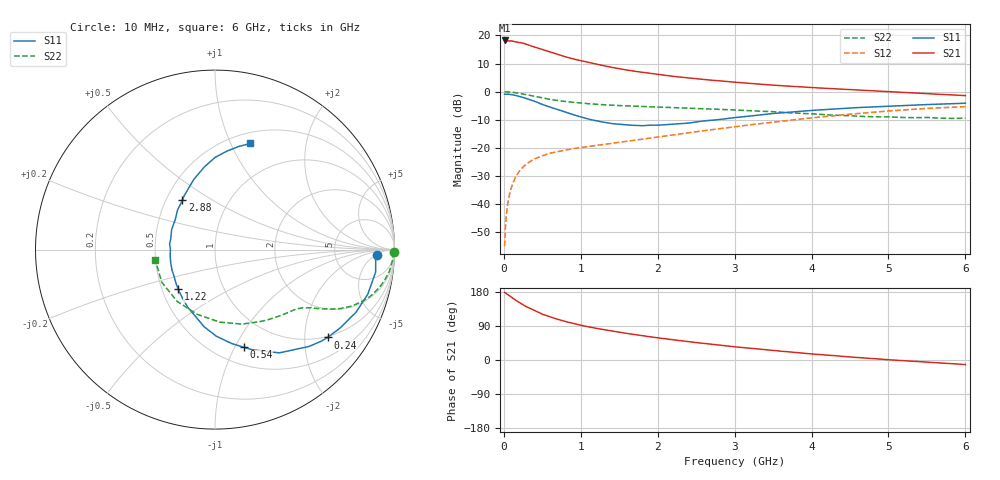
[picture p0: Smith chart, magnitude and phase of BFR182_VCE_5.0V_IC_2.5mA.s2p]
! Infineon Technologies  Discrete & RF Semiconductors
! BFR182
! VCE =  5.0 V,  IC =  2.5 mA
! Common Emitter S-Parameters:  Nov 2015
# GHz  S  MA  R  50
!  f  S11  S21  S12  S22
! GHz  MAG  ANG  MAG  ANG  MAG  ANG  MAG  ANG
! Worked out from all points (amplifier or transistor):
!   210 points, 10 MHz to 6 GHz, reference 50 ohm
!   highest |S21| = 18.2 dB at 10 MHz (marker M1)
!   |S21| within 3 dB of that: start of sweep to 472 MHz
!   unconditionally stable (mu >= 1): 1.372 GHz to 3.067 GHz
!   at 185 MHz: K = 0.21, MSG = 23.2 dB, |S12| = -28.9 dB
!   at 1.52 GHz: K = 1.03, MAG = 11.9 dB, |S12| = -17.9 dB
!   at 6 GHz: K = 0.88, MSG = 2.0 dB, |S12| = -5.3 dB
!   S11 on the Smith chart (normalised r, x): 10 MHz: 18, -5; 240 MHz: 0.97, -2.59; 540 MHz: 0.68, -1.09; 1.22 GHz: 0.61, -0.29; 2.88 GHz: 0.61, +0.37; 6 GHz: 0.62, +1.19
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0.01  0.9028 -1.8  8.121 178.6  0.0018 93.0  0.9953 -0.8
0.02  0.8968 -3.1  7.964 177.0  0.0037 82.5  0.9907 -1.4
0.03  0.8984 -4.7  7.961 175.6  0.0059 83.5  0.9905 -2.1
0.07  0.8947 -11.3  7.959 170.0  0.0142 82.5  0.9855 -5.0
0.1  0.8867 -16.3  7.979 165.9  0.0201 81.2  0.9791 -7.1
0.15  0.8595 -24.0  7.669 158.3  0.0298 76.5  0.959 -10.6
0.24  0.7964 -37.9  7.314 146.8  0.0444 69.4  0.914 -15.7
0.3  0.7511 -46.0  6.885 139.9  0.0528 66.1  0.8787 -18.7
0.4  0.6776 -58.1  6.204 130.5  0.0639 60.7  0.8275 -22.3
0.5  0.5942 -69.8  5.595 120.9  0.0727 57.3  0.7761 -25.0
0.54  0.5668 -73.6  5.384 118.1  0.0758 56.2  0.7576 -25.8
0.7  0.4826 -89.1  4.597 107.3  0.0861 53.5  0.695 -28.4
0.8  0.4348 -97.9  4.166 101.6  0.0915 52.1  0.668 -29.4
1.02  0.3499 -116.6  3.506 91.0  0.1025 51.7  0.6238 -31.3
1.22  0.3001 -133.3  3.048 82.9  0.1117 52.5  0.594 -33.1
1.6  0.257 -164.1  2.418 70.0  0.1317 54.4  0.5593 -36.5
2.02  0.2546 165.2  2.014 58.0  0.158 56.3  0.5334 -41.4
2.88  0.3295 123.6  1.526 37.6  0.2273 56.2  0.4808 -55.5
3.1  0.3569 116.8  1.437 33.0  0.2477 55.2  0.4651 -60.2
4.1  0.4735 95.8  1.163 14.5  0.3527 47.4  0.3955 -89.8
5.1  0.5597 81.8  0.986 -0.5  0.463 35.2  0.3513 -130.3
6  0.623 71.6  0.852 -11.9  0.5428 21.4  0.3376 -170.5
